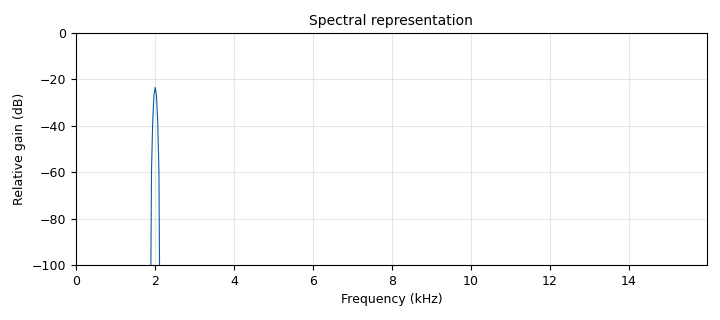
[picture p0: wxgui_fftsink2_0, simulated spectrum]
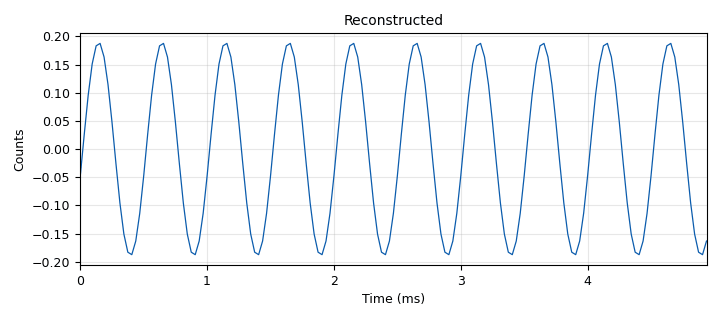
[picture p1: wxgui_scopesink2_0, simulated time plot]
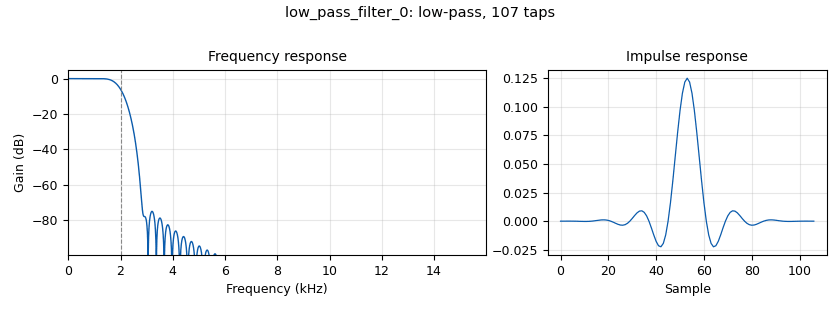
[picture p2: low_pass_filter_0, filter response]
<?xml version='1.0' encoding='utf-8'?>
<?grc format='1' created='3.7.11'?>
<flow_graph>
<block>
<key>options</key>
<param><key>id</key><value>top_block</value></param>
<param><key>category</key><value>Custom</value></param>
<param><key>generate_options</key><value>wx_gui</value></param>
</block>
<block>
<key>variable_slider</key>
<param><key>id</key><value>amplitude</value></param>
<param><key>converver</key><value>float_converter</value></param>
<param><key>value</key><value>1</value></param>
<param><key>label</key><value>amplitude</value></param>
<param><key>max</key><value>10</value></param>
<param><key>min</key><value>0</value></param>
<param><key>num_steps</key><value>100</value></param>
<param><key>style</key><value>wx.SL_HORIZONTAL</value></param>
</block>
<block>
<key>variable</key>
<param><key>id</key><value>samp_rate</value></param>
<param><key>value</key><value>32000</value></param>
</block>
<block>
<key>variable_slider</key>
<param><key>id</key><value>tuner</value></param>
<param><key>converver</key><value>float_converter</value></param>
<param><key>value</key><value>2000</value></param>
<param><key>label</key><value>LPF Tuner</value></param>
<param><key>max</key><value>7000</value></param>
<param><key>min</key><value>1000</value></param>
<param><key>num_steps</key><value>100</value></param>
<param><key>style</key><value>wx.SL_HORIZONTAL</value></param>
</block>
<block>
<key>analog_sig_source_x</key>
<param><key>id</key><value>analog_sig_source_x_0</value></param>
<param><key>amp</key><value>amplitude</value></param>
<param><key>freq</key><value>2000</value></param>
<param><key>offset</key><value>0</value></param>
<param><key>type</key><value>float</value></param>
<param><key>samp_rate</key><value>samp_rate</value></param>
<param><key>waveform</key><value>analog.GR_SIN_WAVE</value></param>
</block>
<block>
<key>analog_sig_source_x</key>
<param><key>id</key><value>analog_sig_source_x_0_0</value></param>
<param><key>amp</key><value>amplitude</value></param>
<param><key>freq</key><value>20000</value></param>
<param><key>offset</key><value>0</value></param>
<param><key>type</key><value>float</value></param>
<param><key>samp_rate</key><value>samp_rate</value></param>
<param><key>waveform</key><value>analog.GR_SQR_WAVE</value></param>
</block>
<block>
<key>blocks_multiply_xx</key>
<param><key>id</key><value>blocks_multiply_xx_0_0</value></param>
<param><key>type</key><value>float</value></param>
</block>
<block>
<key>blocks_throttle</key>
<param><key>id</key><value>blocks_throttle_0</value></param>
<param><key>samples_per_second</key><value>samp_rate</value></param>
<param><key>type</key><value>float</value></param>
</block>
<block>
<key>low_pass_filter</key>
<param><key>id</key><value>low_pass_filter_0</value></param>
<param><key>cutoff_freq</key><value>tuner</value></param>
<param><key>decim</key><value>1</value></param>
<param><key>type</key><value>fir_filter_fff</value></param>
<param><key>gain</key><value>1</value></param>
<param><key>samp_rate</key><value>samp_rate</value></param>
<param><key>width</key><value>1000</value></param>
<param><key>win</key><value>firdes.WIN_BLACKMAN</value></param>
</block>
<block>
<key>note</key>
<param><key>id</key><value>note_0</value></param>
<param><key>note</key><value>modulation</value></param>
</block>
<block>
<key>note</key>
<param><key>id</key><value>note_0_0</value></param>
<param><key>note</key><value>demodulation</value></param>
</block>
<block>
<key>wxgui_fftsink2</key>
<param><key>id</key><value>wxgui_fftsink2_0</value></param>
<param><key>avg_alpha</key><value>0</value></param>
<param><key>average</key><value>False</value></param>
<param><key>baseband_freq</key><value>0</value></param>
<param><key>fft_size</key><value>1024</value></param>
<param><key>freqvar</key><value>None</value></param>
<param><key>peak_hold</key><value>False</value></param>
<param><key>ref_level</key><value>0</value></param>
<param><key>ref_scale</key><value>2.0</value></param>
<param><key>fft_rate</key><value>15</value></param>
<param><key>samp_rate</key><value>samp_rate</value></param>
<param><key>title</key><value>Spectral representation</value></param>
<param><key>type</key><value>float</value></param>
<param><key>win</key><value>None</value></param>
<param><key>y_divs</key><value>10</value></param>
<param><key>y_per_div</key><value>10</value></param>
</block>
<block>
<key>wxgui_scopesink2</key>
<param><key>id</key><value>wxgui_scopesink2_0</value></param>
<param><key>ac_couple</key><value>False</value></param>
<param><key>grid_pos</key><value>1,1,1,1</value></param>
<param><key>num_inputs</key><value>1</value></param>
<param><key>samp_rate</key><value>samp_rate</value></param>
<param><key>t_scale</key><value>0</value></param>
<param><key>title</key><value>Reconstructed</value></param>
<param><key>trig_mode</key><value>wxgui.TRIG_MODE_AUTO</value></param>
<param><key>type</key><value>float</value></param>
<param><key>v_offset</key><value>0</value></param>
<param><key>v_scale</key><value>0</value></param>
<param><key>xy_mode</key><value>False</value></param>
<param><key>y_axis_label</key><value>Counts</value></param>
</block>
<block>
<key>wxgui_scopesink2</key>
<param><key>id</key><value>wxgui_scopesink2_2</value></param>
<param><key>ac_couple</key><value>False</value></param>
<param><key>_enabled</key><value>False</value></param>
<param><key>grid_pos</key><value>1,0,1,1</value></param>
<param><key>num_inputs</key><value>1</value></param>
<param><key>samp_rate</key><value>samp_rate</value></param>
<param><key>t_scale</key><value>0</value></param>
<param><key>title</key><value>PAM Modulated</value></param>
<param><key>trig_mode</key><value>wxgui.TRIG_MODE_AUTO</value></param>
<param><key>type</key><value>float</value></param>
<param><key>v_offset</key><value>0</value></param>
<param><key>v_scale</key><value>0</value></param>
<param><key>xy_mode</key><value>False</value></param>
<param><key>y_axis_label</key><value>Counts</value></param>
</block>
<connection><source_block_id>analog_sig_source_x_0</source_block_id><sink_block_id>blocks_multiply_xx_0_0</sink_block_id><source_key>0</source_key><sink_key>0</sink_key></connection>
<connection><source_block_id>analog_sig_source_x_0_0</source_block_id><sink_block_id>blocks_multiply_xx_0_0</sink_block_id><source_key>0</source_key><sink_key>1</sink_key></connection>
<connection><source_block_id>blocks_multiply_xx_0_0</source_block_id><sink_block_id>blocks_throttle_0</sink_block_id><source_key>0</source_key><sink_key>0</sink_key></connection>
<connection><source_block_id>blocks_throttle_0</source_block_id><sink_block_id>low_pass_filter_0</sink_block_id><source_key>0</source_key><sink_key>0</sink_key></connection>
<connection><source_block_id>blocks_throttle_0</source_block_id><sink_block_id>wxgui_scopesink2_2</sink_block_id><source_key>0</source_key><sink_key>0</sink_key></connection>
<connection><source_block_id>low_pass_filter_0</source_block_id><sink_block_id>wxgui_fftsink2_0</sink_block_id><source_key>0</source_key><sink_key>0</sink_key></connection>
<connection><source_block_id>low_pass_filter_0</source_block_id><sink_block_id>wxgui_scopesink2_0</sink_block_id><source_key>0</source_key><sink_key>0</sink_key></connection>
</flow_graph>
